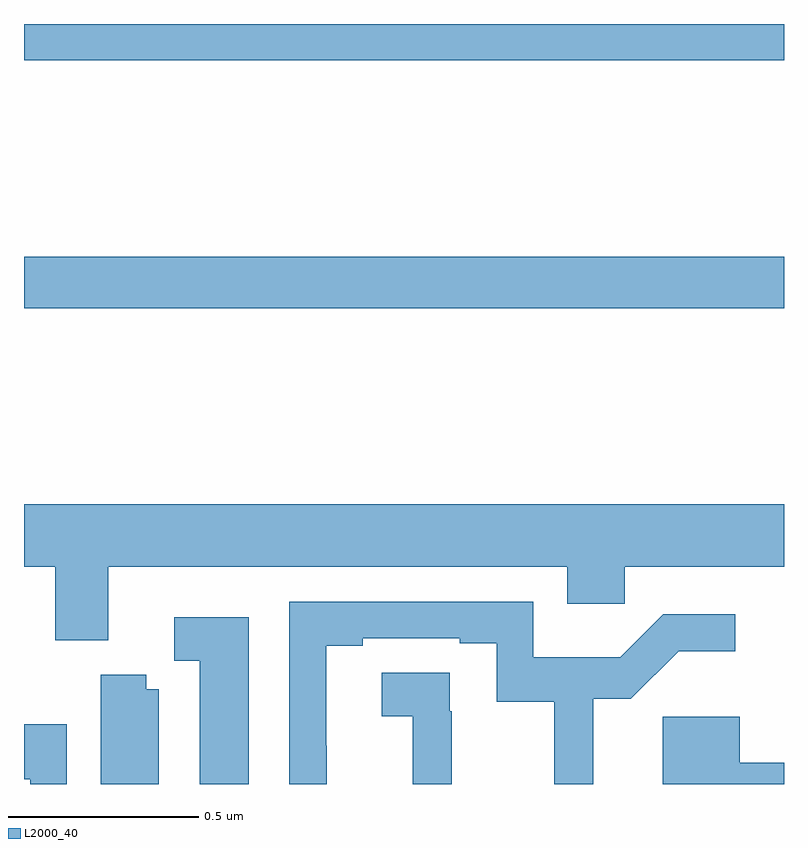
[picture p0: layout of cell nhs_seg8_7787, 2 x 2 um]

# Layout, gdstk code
import gdstk
lib = gdstk.Library(unit=1e-6, precision=1e-09)
def R(c, l, rs):  # rectangles x0, y0, x1, y1
    for r in rs: c.add(gdstk.rectangle(r[:2], r[2:], *l))
def P(c, l, *ps):  # polygons
    for p in ps: c.add(gdstk.Polygon(p, *l))
L2000_40 = (2000, 40)

nhs_seg8_7787 = lib.new_cell('nhs_seg8_7787')
R(nhs_seg8_7787, L2000_40, [(214,1145.152,216,1145.288), (214,1145.804,216,1145.9)])
P(nhs_seg8_7787, L2000_40, [(214.222,1144.472),(215.429,1144.472),(215.429,1144.374),(215.581,1144.374),(215.581,1144.472),(216,1144.472),(216,1144.636),(214,1144.636),(214,1144.472),(214.082,1144.472),(214.082,1144.278),(214.222,1144.278)],
  [(214.797,1144.001),(214.795,1144.001),(214.795,1144.264),(214.891,1144.264),(214.891,1144.284),(215.147,1144.284),(215.147,1144.27),(215.244,1144.27),(215.244,1144.117),(215.395,1144.117),(215.395,1143.9),(215.498,1143.9),(215.498,1144.125),(215.597,1144.125),(215.723,1144.25),(215.872,1144.25),(215.872,1144.347),(215.682,1144.347),(215.569,1144.234),(215.34,1144.234),(215.34,1144.38),(214.698,1144.38),(214.698,1143.9),(214.797,1143.9)],
  [(214.591,1144.339),(214.395,1144.339),(214.395,1144.224),(214.463,1144.224),(214.463,1143.9),(214.591,1143.9)],
  [(215.126,1144.091),(215.12,1144.091),(215.12,1144.193),(214.941,1144.193),(214.941,1144.078),(215.023,1144.078),(215.023,1143.9),(215.126,1143.9)],
  [(214.354,1144.15),(214.322,1144.15),(214.322,1144.187),(214.202,1144.187),(214.202,1143.9),(214.354,1143.9)],
  [(216,1143.956),(215.884,1143.956),(215.884,1144.077),(215.681,1144.077),(215.681,1143.9),(216,1143.9)],
  [(214.113,1144.057),(214,1144.057),(214,1143.912),(214.017,1143.912),(214.017,1143.9),(214.113,1143.9)])

lib.write_gds('nhs_seg8_7787.gds')
